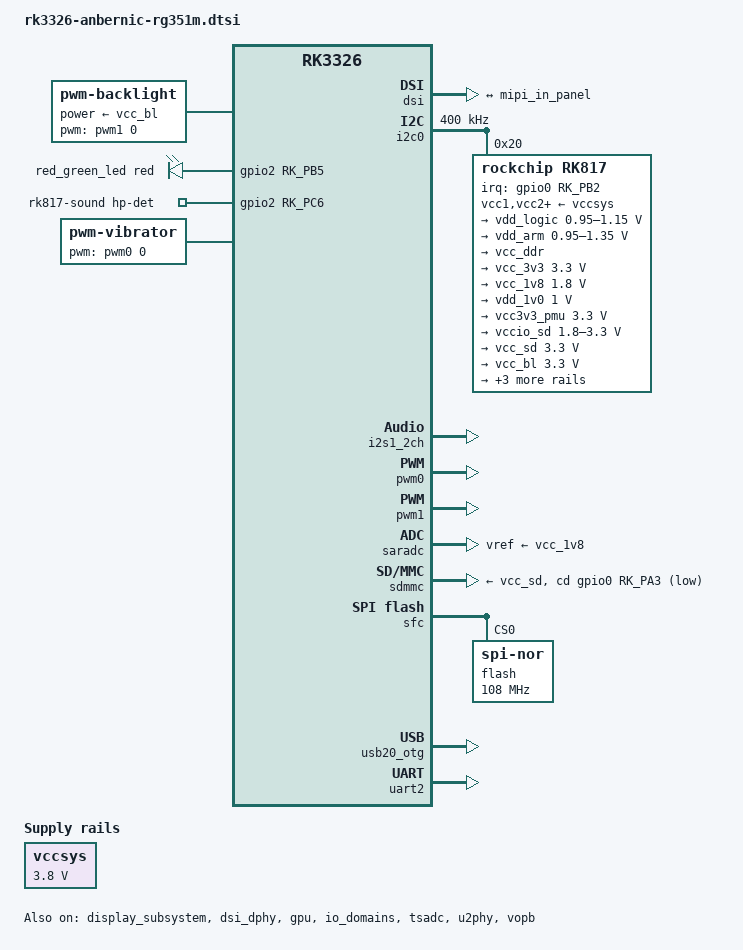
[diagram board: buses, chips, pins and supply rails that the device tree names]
// SPDX-License-Identifier: (GPL-2.0+ OR MIT)
/*
 * Copyright (c) 2019 Hardkernel Co., Ltd
 * Copyright (c) 2020 Theobroma Systems Design und Consulting GmbH
 * Copyright (c) 2022 Maya Matuszczyk <maccraft123mc@gmail.com>
 */

/dts-v1/;
#include <dt-bindings/gpio/gpio.h>
#include <dt-bindings/input/input.h>
#include <dt-bindings/leds/common.h>
#include <dt-bindings/pinctrl/rockchip.h>
#include "rk3326.dtsi"

/ {
	aliases {
		mmc0 = &sdmmc;
	};

	chosen {
		stdout-path = "serial2:115200n8";
	};

	backlight: backlight {
		compatible = "pwm-backlight";
		power-supply = <&vcc_bl>;
		pwms = <&pwm1 0 25000 0>;
	};

	/*
	 * LED is a tri-state. Driven high it is red, driven low it is
	 * green, and not driven at all (pin set to input) it is amber.
	 * Additionally, there is a 2nd LED that is not controllable
	 * that is on (red) when plugged in to power.
	 */
	gpio_led: gpio-leds {
		compatible = "gpio-leds";
		pinctrl-names = "default";
		pinctrl-0 = <&led_pin>;

		red_green_led: led-0 {
			color = <LED_COLOR_ID_RED>;
			gpios = <&gpio2 RK_PB5 GPIO_ACTIVE_HIGH>;
			function = LED_FUNCTION_CHARGING;
		};
	};

	rk817-sound {
		compatible = "simple-audio-card";
		simple-audio-card,name = "rk817_int";
		simple-audio-card,format = "i2s";
		simple-audio-card,hp-det-gpios = <&gpio2 RK_PC6 GPIO_ACTIVE_HIGH>;
		simple-audio-card,mclk-fs = <256>;
		simple-audio-card,widgets =
			"Microphone", "Mic Jack",
			"Headphone", "Headphones",
			"Speaker", "Speaker";
		simple-audio-card,routing =
			"MICL", "Mic Jack",
			"Headphones", "HPOL",
			"Headphones", "HPOR",
			"Speaker", "SPKO";

		simple-audio-card,codec {
			sound-dai = <&rk817>;
		};

		simple-audio-card,cpu {
			sound-dai = <&i2s1_2ch>;
		};
	};

	vccsys: regulator-vccsys {
		compatible = "regulator-fixed";
		regulator-name = "vcc3v8_sys";
		regulator-always-on;
		regulator-min-microvolt = <3800000>;
		regulator-max-microvolt = <3800000>;
	};

	vibrator {
		compatible = "pwm-vibrator";
		pwms = <&pwm0 0 1000000 0>;
		pwm-names = "enable";
	};
};

&cpu0 {
	cpu-supply = <&vdd_arm>;
};

&cpu1 {
	cpu-supply = <&vdd_arm>;
};

&cpu2 {
	cpu-supply = <&vdd_arm>;
};

&cpu3 {
	cpu-supply = <&vdd_arm>;
};

&cru {
	assigned-clocks = <&cru PLL_NPLL>,
		<&cru ACLK_BUS_PRE>, <&cru ACLK_PERI_PRE>,
		<&cru HCLK_BUS_PRE>, <&cru HCLK_PERI_PRE>,
		<&cru PCLK_BUS_PRE>, <&cru SCLK_GPU>;

	assigned-clock-rates = <1188000000>,
		<200000000>, <200000000>,
		<150000000>, <150000000>,
		<100000000>, <200000000>;
};

&display_subsystem {
	status = "okay";
};

&dsi {
	#address-cells = <1>;
	#size-cells = <0>;
	status = "okay";

	ports {
		mipi_out: port@1 {
			reg = <1>;

			mipi_out_panel: endpoint {
				remote-endpoint = <&mipi_in_panel>;
			};
		};
	};

	internal_display: panel@0 {
		reg = <0>;
		backlight = <&backlight>;
		reset-gpios = <&gpio3 RK_PC0 GPIO_ACTIVE_LOW>;

		port {
			mipi_in_panel: endpoint {
				remote-endpoint = <&mipi_out_panel>;
			};
		};
	};
};

&dsi_dphy {
	status = "okay";
};

&gpu {
	mali-supply = <&vdd_logic>;
	status = "okay";
};

&i2c0 {
	clock-frequency = <400000>;
	i2c-scl-falling-time-ns = <16>;
	i2c-scl-rising-time-ns = <280>;
	status = "okay";

	rk817: pmic@20 {
		compatible = "rockchip,rk817";
		reg = <0x20>;
		#clock-cells = <1>;
		clock-names = "mclk";
		clock-output-names = "rk808-clkout1", "xin32k";
		clocks = <&cru SCLK_I2S1_OUT>;
		interrupt-parent = <&gpio0>;
		interrupts = <RK_PB2 IRQ_TYPE_LEVEL_LOW>;
		pinctrl-0 = <&pmic_int>, <&i2s1_2ch_mclk>;
		pinctrl-names = "default";
		#sound-dai-cells = <0>;
		wakeup-source;

		vcc1-supply = <&vccsys>;
		vcc2-supply = <&vccsys>;
		vcc3-supply = <&vccsys>;
		vcc4-supply = <&vccsys>;
		vcc5-supply = <&vccsys>;
		vcc6-supply = <&vccsys>;
		vcc7-supply = <&vccsys>;
		vcc8-supply = <&vccsys>;

		regulators {
			vdd_logic: DCDC_REG1 {
				regulator-always-on;
				regulator-boot-on;
				regulator-max-microvolt = <1150000>;
				regulator-min-microvolt = <950000>;
				regulator-name = "vdd_logic";
				regulator-ramp-delay = <6001>;

				regulator-state-mem {
					regulator-on-in-suspend;
					regulator-suspend-microvolt = <950000>;
				};
			};

			vdd_arm: DCDC_REG2 {
				regulator-always-on;
				regulator-boot-on;
				regulator-max-microvolt = <1350000>;
				regulator-min-microvolt = <950000>;
				regulator-name = "vdd_arm";
				regulator-ramp-delay = <6001>;

				regulator-state-mem {
					regulator-off-in-suspend;
					regulator-suspend-microvolt = <950000>;
				};
			};

			vcc_ddr: DCDC_REG3 {
				regulator-always-on;
				regulator-boot-on;
				regulator-name = "vcc_ddr";

				regulator-state-mem {
					regulator-on-in-suspend;
				};
			};

			vcc_3v3: DCDC_REG4 {
				regulator-always-on;
				regulator-boot-on;
				regulator-max-microvolt = <3300000>;
				regulator-min-microvolt = <3300000>;
				regulator-name = "vcc_3v3";

				regulator-state-mem {
					regulator-off-in-suspend;
					regulator-suspend-microvolt = <3300000>;
				};
			};

			vcc_1v8: LDO_REG2 {
				regulator-always-on;
				regulator-boot-on;
				regulator-max-microvolt = <1800000>;
				regulator-min-microvolt = <1800000>;
				regulator-name = "vcc_1v8";

				regulator-state-mem {
					regulator-on-in-suspend;
					regulator-suspend-microvolt = <1800000>;
				};
			};

			vdd_1v0: LDO_REG3 {
				regulator-always-on;
				regulator-boot-on;
				regulator-max-microvolt = <1000000>;
				regulator-min-microvolt = <1000000>;
				regulator-name = "vdd_1v0";

				regulator-state-mem {
					regulator-on-in-suspend;
					regulator-suspend-microvolt = <1000000>;
				};
			};

			vcc3v3_pmu: LDO_REG4 {
				regulator-always-on;
				regulator-boot-on;
				regulator-max-microvolt = <3300000>;
				regulator-min-microvolt = <3300000>;
				regulator-name = "vcc3v3_pmu";

				regulator-state-mem {
					regulator-on-in-suspend;
					regulator-suspend-microvolt = <3300000>;
				};
			};

			vccio_sd: LDO_REG5 {
				regulator-always-on;
				regulator-boot-on;
				regulator-max-microvolt = <3300000>;
				regulator-min-microvolt = <1800000>;
				regulator-name = "vccio_sd";

				regulator-state-mem {
					regulator-on-in-suspend;
					regulator-suspend-microvolt = <3300000>;
				};
			};

			vcc_sd: LDO_REG6 {
				regulator-boot-on;
				regulator-max-microvolt = <3300000>;
				regulator-min-microvolt = <3300000>;
				regulator-name = "vcc_sd";

				regulator-state-mem {
					regulator-on-in-suspend;
					regulator-suspend-microvolt = <3300000>;
				};
			};

			vcc_bl: LDO_REG7 {
				regulator-max-microvolt = <3300000>;
				regulator-min-microvolt = <3300000>;
				regulator-name = "vcc_bl";

				regulator-state-mem {
					regulator-off-in-suspend;
					regulator-suspend-microvolt = <3300000>;
				};
			};

			vcc_lcd: LDO_REG8 {
				regulator-max-microvolt = <2800000>;
				regulator-min-microvolt = <2800000>;
				regulator-name = "vcc_lcd";

				regulator-state-mem {
					regulator-off-in-suspend;
					regulator-suspend-microvolt = <2800000>;
				};
			};

			vcc_wifi: LDO_REG9 {
				regulator-max-microvolt = <3300000>;
				regulator-min-microvolt = <3300000>;
				regulator-name = "vcc_wifi";

				regulator-state-mem {
					regulator-off-in-suspend;
					regulator-suspend-microvolt = <3300000>;
				};
			};

			usb_midu: BOOST {
				regulator-always-on;
				regulator-boot-on;
				regulator-max-microvolt = <5400000>;
				regulator-min-microvolt = <5000000>;
				regulator-name = "usb_midu";
			};
		};

		rk817_codec: codec {
			rockchip,mic-in-differential;
		};
	};
};

&i2s1_2ch {
	status = "okay";
};

&io_domains {
	vccio1-supply = <&vcc_3v3>;
	vccio2-supply = <&vccio_sd>;
	vccio3-supply = <&vcc_3v3>;
	vccio4-supply = <&vcc_3v3>;
	vccio5-supply = <&vcc_3v3>;
	vccio6-supply = <&vcc_3v3>;
	status = "okay";
};

&pmu_io_domains {
	pmuio1-supply = <&vcc3v3_pmu>;
	pmuio2-supply = <&vcc3v3_pmu>;
	status = "okay";
};

&pwm0 {
	status = "okay";
};

&pwm1 {
	status = "okay";
};

&saradc {
	vref-supply = <&vcc_1v8>;
	status = "okay";
};

&sdmmc {
	cap-sd-highspeed;
	card-detect-delay = <200>;
	cd-gpios = <&gpio0 RK_PA3 GPIO_ACTIVE_LOW>;
	sd-uhs-sdr12;
	sd-uhs-sdr25;
	sd-uhs-sdr50;
	sd-uhs-sdr104;
	vmmc-supply = <&vcc_sd>;
	vqmmc-supply = <&vccio_sd>;
	status = "okay";
};

&sfc {
	#address-cells = <1>;
	pinctrl-0 = <&sfc_clk &sfc_cs0 &sfc_bus2>;
	pinctrl-names = "default";
	#size-cells = <0>;
	status = "okay";

	flash@0 {
		compatible = "jedec,spi-nor";
		reg = <0>;
		spi-max-frequency = <108000000>;
		spi-rx-bus-width = <2>;
		spi-tx-bus-width = <1>;
	};
};

&tsadc {
	status = "okay";
};

&u2phy {
	status = "okay";

	u2phy_host: host-port {
		status = "okay";
	};

	u2phy_otg: otg-port {
		status = "disabled";
	};
};

&usb20_otg {
	status = "okay";
};

&uart2 {
	pinctrl-0 = <&uart2m1_xfer>;
	pinctrl-names = "default";
	status = "okay";
};

&vopb {
	status = "okay";
};

&vopb_mmu {
	status = "okay";
};

&pinctrl {
	headphone {
		hp_det: hp-det {
			rockchip,pins = <2 RK_PC6 RK_FUNC_GPIO &pcfg_pull_down>;
		};
	};

	leds {
		led_pin: led-pin {
			rockchip,pins = <2 RK_PB5 RK_FUNC_GPIO &pcfg_pull_none>;
		};
	};

	pmic {
		dc_det: dc-det {
			rockchip,pins = <0 RK_PB3 RK_FUNC_GPIO &pcfg_pull_none>;
		};

		pmic_int: pmic-int {
			rockchip,pins = <0 RK_PB2 RK_FUNC_GPIO &pcfg_pull_up>;
		};

		soc_slppin_gpio: soc_slppin_gpio {
			rockchip,pins = <0 RK_PA4 RK_FUNC_GPIO &pcfg_output_low>;
		};

		soc_slppin_rst: soc_slppin_rst {
			rockchip,pins = <0 RK_PA4 2 &pcfg_pull_none>;
		};

		soc_slppin_slp: soc_slppin_slp {
			rockchip,pins = <0 RK_PA4 1 &pcfg_pull_none>;
		};
	};
};
